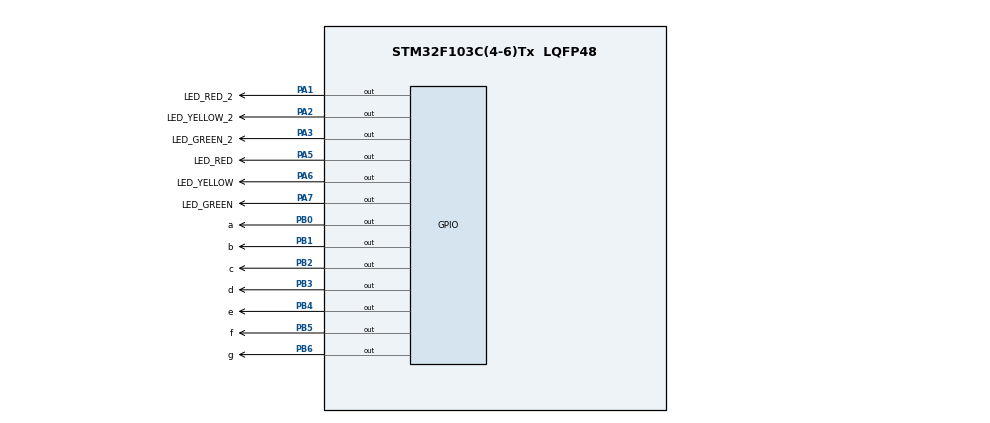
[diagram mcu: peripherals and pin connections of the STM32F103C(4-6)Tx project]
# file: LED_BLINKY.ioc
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Mcu.Family=STM32F1
Mcu.Name=STM32F103C(4-6)Tx
Mcu.Package=LQFP48
NVIC.PriorityGroup=NVIC_PRIORITYGROUP_4
PA1.GPIO_Label=LED_RED_2
PA1.Signal=GPIO_Output
PA2.GPIO_Label=LED_YELLOW_2
PA2.Signal=GPIO_Output
PA3.GPIO_Label=LED_GREEN_2
PA3.Signal=GPIO_Output
PA5.GPIO_Label=LED_RED
PA5.Signal=GPIO_Output
PA6.GPIO_Label=LED_YELLOW
PA6.Signal=GPIO_Output
PA7.GPIO_Label=LED_GREEN
PA7.Signal=GPIO_Output
PB0.GPIO_Label=a
PB0.Signal=GPIO_Output
PB1.GPIO_Label=b
PB1.Signal=GPIO_Output
PB2.GPIO_Label=c
PB2.Signal=GPIO_Output
PB3.GPIO_Label=d
PB3.Signal=GPIO_Output
PB4.GPIO_Label=e
PB4.Signal=GPIO_Output
PB5.GPIO_Label=f
PB5.Signal=GPIO_Output
PB6.GPIO_Label=g
PB6.Signal=GPIO_Output
ProjectManager.HeapSize=0x200
ProjectManager.StackSize=0x400
ProjectManager.TargetToolchain=STM32CubeIDE
RCC.APB1Freq_Value=8000000
RCC.APB2Freq_Value=8000000
VP_SYS_VS_ND.Mode=No_Debug
board=custom

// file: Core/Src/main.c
/* USER CODE BEGIN Header */
/**
  ******************************************************************************
  * @file           : main.c
  * @brief          : Main program body
  ******************************************************************************
  * @attention
  *
  * <h2><center>&copy; Copyright (c) 2023 STMicroelectronics.
  * All rights reserved.</center></h2>
  *
  * This software component is licensed by ST under BSD 3-Clause license,
  * the "License"; You may not use this file except in compliance with the
  * License. You may obtain a copy of the License at:
  *                        opensource.org/licenses/BSD-3-Clause
  *
  ******************************************************************************
  */
/* USER CODE END Header */
#include "main.h"

void SystemClock_Config(void);
static void MX_GPIO_Init(void);

int main(void)
{

  /* MCU Configuration--------------------------------------------------------*/

  /* Reset of all peripherals, Initializes the Flash interface and the Systick. */
  HAL_Init();

  /* Configure the system clock */
  SystemClock_Config();

  /* Initialize all configured peripherals */
  MX_GPIO_Init();

  /* Infinite loop */
  /* USER CODE BEGIN WHILE */

  void display7SEG(int num) {
      HAL_GPIO_WritePin(a_GPIO_Port, a_Pin, GPIO_PIN_SET);
      HAL_GPIO_WritePin(b_GPIO_Port, b_Pin, GPIO_PIN_SET);
      HAL_GPIO_WritePin(c_GPIO_Port, c_Pin, GPIO_PIN_SET);
      HAL_GPIO_WritePin(d_GPIO_Port, d_Pin, GPIO_PIN_SET);
      HAL_GPIO_WritePin(e_GPIO_Port, e_Pin, GPIO_PIN_SET);
      HAL_GPIO_WritePin(f_GPIO_Port, f_Pin, GPIO_PIN_SET);
      HAL_GPIO_WritePin(g_GPIO_Port, g_Pin, GPIO_PIN_SET);

      switch(num) {
          case 0:
              HAL_GPIO_WritePin(a_GPIO_Port, a_Pin, GPIO_PIN_RESET);
              HAL_GPIO_WritePin(b_GPIO_Port, b_Pin, GPIO_PIN_RESET);
              HAL_GPIO_WritePin(c_GPIO_Port, c_Pin, GPIO_PIN_RESET);
              HAL_GPIO_WritePin(d_GPIO_Port, d_Pin, GPIO_PIN_RESET);
              HAL_GPIO_WritePin(e_GPIO_Port, e_Pin, GPIO_PIN_RESET);
              HAL_GPIO_WritePin(f_GPIO_Port, f_Pin, GPIO_PIN_RESET);
              HAL_GPIO_WritePin(g_GPIO_Port, g_Pin, GPIO_PIN_SET);
              break;
          case 1:
              HAL_GPIO_WritePin(a_GPIO_Port, a_Pin, GPIO_PIN_SET);
              HAL_GPIO_WritePin(b_GPIO_Port, b_Pin, GPIO_PIN_RESET);
              HAL_GPIO_WritePin(c_GPIO_Port, c_Pin, GPIO_PIN_RESET);
              HAL_GPIO_WritePin(d_GPIO_Port, d_Pin, GPIO_PIN_SET);
              HAL_GPIO_WritePin(e_GPIO_Port, e_Pin, GPIO_PIN_SET);
              HAL_GPIO_WritePin(f_GPIO_Port, f_Pin, GPIO_PIN_SET);
              HAL_GPIO_WritePin(g_GPIO_Port, g_Pin, GPIO_PIN_SET);
              // (Add the rest of the pins needed to display '1')
              break;
          case 2:
              HAL_GPIO_WritePin(a_GPIO_Port, a_Pin, GPIO_PIN_RESET);
              HAL_GPIO_WritePin(b_GPIO_Port, b_Pin, GPIO_PIN_RESET);
              HAL_GPIO_WritePin(c_GPIO_Port, c_Pin, GPIO_PIN_SET);
              HAL_GPIO_WritePin(d_GPIO_Port, d_Pin, GPIO_PIN_RESET);
              HAL_GPIO_WritePin(e_GPIO_Port, e_Pin, GPIO_PIN_RESET);
              HAL_GPIO_WritePin(f_GPIO_Port, f_Pin, GPIO_PIN_SET);
              HAL_GPIO_WritePin(g_GPIO_Port, g_Pin, GPIO_PIN_RESET);
              break;
          case 3:
              HAL_GPIO_WritePin(a_GPIO_Port, a_Pin, GPIO_PIN_RESET);
              HAL_GPIO_WritePin(b_GPIO_Port, b_Pin, GPIO_PIN_RESET);
              HAL_GPIO_WritePin(c_GPIO_Port, c_Pin, GPIO_PIN_RESET);
              HAL_GPIO_WritePin(d_GPIO_Port, d_Pin, GPIO_PIN_RESET);
              HAL_GPIO_WritePin(e_GPIO_Port, e_Pin, GPIO_PIN_SET);
              HAL_GPIO_WritePin(f_GPIO_Port, f_Pin, GPIO_PIN_SET);
              HAL_GPIO_WritePin(g_GPIO_Port, g_Pin, GPIO_PIN_RESET);
              break;
          case 4:
              HAL_GPIO_WritePin(a_GPIO_Port, a_Pin, GPIO_PIN_SET);
              HAL_GPIO_WritePin(b_GPIO_Port, b_Pin, GPIO_PIN_RESET);
              HAL_GPIO_WritePin(c_GPIO_Port, c_Pin, GPIO_PIN_RESET);
              HAL_GPIO_WritePin(d_GPIO_Port, d_Pin, GPIO_PIN_SET);
              HAL_GPIO_WritePin(e_GPIO_Port, e_Pin, GPIO_PIN_SET);
              HAL_GPIO_WritePin(f_GPIO_Port, f_Pin, GPIO_PIN_RESET);
              HAL_GPIO_WritePin(g_GPIO_Port, g_Pin, GPIO_PIN_RESET);
              break;
          case 5:
              HAL_GPIO_WritePin(a_GPIO_Port, a_Pin, GPIO_PIN_RESET);
              HAL_GPIO_WritePin(b_GPIO_Port, b_Pin, GPIO_PIN_SET);
              HAL_GPIO_WritePin(c_GPIO_Port, c_Pin, GPIO_PIN_RESET);
              HAL_GPIO_WritePin(d_GPIO_Port, d_Pin, GPIO_PIN_RESET);
              HAL_GPIO_WritePin(e_GPIO_Port, e_Pin, GPIO_PIN_SET);
              HAL_GPIO_WritePin(f_GPIO_Port, f_Pin, GPIO_PIN_RESET);
              HAL_GPIO_WritePin(g_GPIO_Port, g_Pin, GPIO_PIN_RESET);
              break;
          case 6:
              HAL_GPIO_WritePin(a_GPIO_Port, a_Pin, GPIO_PIN_RESET);
              HAL_GPIO_WritePin(b_GPIO_Port, b_Pin, GPIO_PIN_SET);
              HAL_GPIO_WritePin(c_GPIO_Port, c_Pin, GPIO_PIN_RESET);
              HAL_GPIO_WritePin(d_GPIO_Port, d_Pin, GPIO_PIN_RESET);
              HAL_GPIO_WritePin(e_GPIO_Port, e_Pin, GPIO_PIN_RESET);
              HAL_GPIO_WritePin(f_GPIO_Port, f_Pin, GPIO_PIN_RESET);
              HAL_GPIO_WritePin(g_GPIO_Port, g_Pin, GPIO_PIN_RESET);
              break;
          case 7:
              HAL_GPIO_WritePin(a_GPIO_Port, a_Pin, GPIO_PIN_RESET);
              HAL_GPIO_WritePin(b_GPIO_Port, b_Pin, GPIO_PIN_RESET);
              HAL_GPIO_WritePin(c_GPIO_Port, c_Pin, GPIO_PIN_RESET);
              HAL_GPIO_WritePin(d_GPIO_Port, d_Pin, GPIO_PIN_SET);
              HAL_GPIO_WritePin(e_GPIO_Port, e_Pin, GPIO_PIN_SET);
              HAL_GPIO_WritePin(f_GPIO_Port, f_Pin, GPIO_PIN_SET);
              HAL_GPIO_WritePin(g_GPIO_Port, g_Pin, GPIO_PIN_SET);
              break;
          case 8:
              HAL_GPIO_WritePin(a_GPIO_Port, a_Pin, GPIO_PIN_RESET);
              HAL_GPIO_WritePin(b_GPIO_Port, b_Pin, GPIO_PIN_RESET);
              HAL_GPIO_WritePin(c_GPIO_Port, c_Pin, GPIO_PIN_RESET);
              HAL_GPIO_WritePin(d_GPIO_Port, d_Pin, GPIO_PIN_RESET);
              HAL_GPIO_WritePin(e_GPIO_Port, e_Pin, GPIO_PIN_RESET);
              HAL_GPIO_WritePin(f_GPIO_Port, f_Pin, GPIO_PIN_RESET);
              HAL_GPIO_WritePin(g_GPIO_Port, g_Pin, GPIO_PIN_RESET);
              break;
          case 9:
              HAL_GPIO_WritePin(a_GPIO_Port, a_Pin, GPIO_PIN_RESET);
              HAL_GPIO_WritePin(b_GPIO_Port, b_Pin, GPIO_PIN_RESET);
              HAL_GPIO_WritePin(c_GPIO_Port, c_Pin, GPIO_PIN_RESET);
              HAL_GPIO_WritePin(d_GPIO_Port, d_Pin, GPIO_PIN_RESET);
              HAL_GPIO_WritePin(e_GPIO_Port, e_Pin, GPIO_PIN_SET);
              HAL_GPIO_WritePin(f_GPIO_Port, f_Pin, GPIO_PIN_RESET);
              HAL_GPIO_WritePin(g_GPIO_Port, g_Pin, GPIO_PIN_RESET);
              break;
          default:
              // Handle invalid input by possibly clearing all segments or displaying a predefined error state
              break;
      }
      return;
  }
void setTrafficLights(GPIO_PinState red, GPIO_PinState yellow, GPIO_PinState green,
					GPIO_PinState red_2, GPIO_PinState yellow_2, GPIO_PinState green_2) {
  HAL_GPIO_WritePin(LED_RED_GPIO_Port, LED_RED_Pin, red);
  HAL_GPIO_WritePin(LED_YELLOW_GPIO_Port, LED_YELLOW_Pin, yellow);
  HAL_GPIO_WritePin(LED_GREEN_GPIO_Port, LED_GREEN_Pin, green);
  HAL_GPIO_WritePin(LED_RED_2_GPIO_Port, LED_RED_2_Pin, red_2);
  HAL_GPIO_WritePin(LED_YELLOW_2_GPIO_Port, LED_YELLOW_2_Pin, yellow_2);
  HAL_GPIO_WritePin(LED_GREEN_2_GPIO_Port, LED_GREEN_2_Pin, green_2);
}
int counter =  9 ;
while (1)
  {
	/* USER CODE BEGIN WHILE */
	 // this comment for North South direction
	  if (counter>6){
			display7SEG(counter-4);
		    setTrafficLights(GPIO_PIN_RESET, GPIO_PIN_SET, GPIO_PIN_SET, GPIO_PIN_SET, GPIO_PIN_SET, GPIO_PIN_RESET);
	  }
	  else if (counter<=6 && counter>4){
			display7SEG(counter-4);
			setTrafficLights(GPIO_PIN_RESET, GPIO_PIN_SET, GPIO_PIN_SET, GPIO_PIN_SET, GPIO_PIN_RESET, GPIO_PIN_SET);
	  }
	  else if (counter<=4 && counter>1){
	    	display7SEG(counter-1);
		setTrafficLights(GPIO_PIN_SET, GPIO_PIN_SET, GPIO_PIN_RESET,
		                 GPIO_PIN_RESET, GPIO_PIN_SET, GPIO_PIN_SET);
	  }
	  else if (counter<2){
			display7SEG(counter+1);
			setTrafficLights(GPIO_PIN_SET, GPIO_PIN_RESET, GPIO_PIN_SET,
			                 GPIO_PIN_RESET, GPIO_PIN_SET, GPIO_PIN_SET);
	  }
	  counter--;
	  if (counter<-1){
		  counter = 9;
		  continue;
	  }
	  HAL_Delay(1000);

    /* USER CODE END WHILE */

  }
}

void SystemClock_Config(void)
{
  RCC_OscInitTypeDef RCC_OscInitStruct = {0};
  RCC_ClkInitTypeDef RCC_ClkInitStruct = {0};

  /** Initializes the RCC Oscillators according to the specified parameters
  * in the RCC_OscInitTypeDef structure.
  */
  RCC_OscInitStruct.OscillatorType = RCC_OSCILLATORTYPE_HSI;
  RCC_OscInitStruct.HSIState = RCC_HSI_ON;
  RCC_OscInitStruct.HSICalibrationValue = RCC_HSICALIBRATION_DEFAULT;
  RCC_OscInitStruct.PLL.PLLState = RCC_PLL_NONE;
  if (HAL_RCC_OscConfig(&RCC_OscInitStruct) != HAL_OK)
  {
    Error_Handler();
  }
  /** Initializes the CPU, AHB and APB buses clocks
  */
  RCC_ClkInitStruct.ClockType = RCC_CLOCKTYPE_HCLK|RCC_CLOCKTYPE_SYSCLK
                              |RCC_CLOCKTYPE_PCLK1|RCC_CLOCKTYPE_PCLK2;
  RCC_ClkInitStruct.SYSCLKSource = RCC_SYSCLKSOURCE_HSI;
  RCC_ClkInitStruct.AHBCLKDivider = RCC_SYSCLK_DIV1;
  RCC_ClkInitStruct.APB1CLKDivider = RCC_HCLK_DIV1;
  RCC_ClkInitStruct.APB2CLKDivider = RCC_HCLK_DIV1;

  if (HAL_RCC_ClockConfig(&RCC_ClkInitStruct, FLASH_LATENCY_0) != HAL_OK)
  {
    Error_Handler();
  }
}

static void MX_GPIO_Init(void)
{
  GPIO_InitTypeDef GPIO_InitStruct = {0};

  /* GPIO Ports Clock Enable */
  __HAL_RCC_GPIOA_CLK_ENABLE();
  __HAL_RCC_GPIOB_CLK_ENABLE();

  /*Configure GPIO pin Output Level */
  HAL_GPIO_WritePin(GPIOA, LED_RED_2_Pin|LED_YELLOW_2_Pin|LED_GREEN_2_Pin|LED_RED_Pin
                          |LED_YELLOW_Pin|LED_GREEN_Pin, GPIO_PIN_RESET);

  /*Configure GPIO pin Output Level */
  HAL_GPIO_WritePin(GPIOB, a_Pin|b_Pin|c_Pin|d_Pin
                          |e_Pin|f_Pin|g_Pin, GPIO_PIN_RESET);

  /*Configure GPIO pins : LED_RED_2_Pin LED_YELLOW_2_Pin LED_GREEN_2_Pin LED_RED_Pin
                           LED_YELLOW_Pin LED_GREEN_Pin */
  GPIO_InitStruct.Pin = LED_RED_2_Pin|LED_YELLOW_2_Pin|LED_GREEN_2_Pin|LED_RED_Pin
                          |LED_YELLOW_Pin|LED_GREEN_Pin;
  GPIO_InitStruct.Mode = GPIO_MODE_OUTPUT_PP;
  GPIO_InitStruct.Pull = GPIO_NOPULL;
  GPIO_InitStruct.Speed = GPIO_SPEED_FREQ_LOW;
  HAL_GPIO_Init(GPIOA, &GPIO_InitStruct);

  /*Configure GPIO pins : a_Pin b_Pin c_Pin d_Pin
                           e_Pin f_Pin g_Pin */
  GPIO_InitStruct.Pin = a_Pin|b_Pin|c_Pin|d_Pin
                          |e_Pin|f_Pin|g_Pin;
  GPIO_InitStruct.Mode = GPIO_MODE_OUTPUT_PP;
  GPIO_InitStruct.Pull = GPIO_NOPULL;
  GPIO_InitStruct.Speed = GPIO_SPEED_FREQ_LOW;
  HAL_GPIO_Init(GPIOB, &GPIO_InitStruct);

}

void Error_Handler(void)
{
  __disable_irq();
  while (1)
  {
  }
}

/************************ (C) COPYRIGHT STMicroelectronics *****END OF FILE****/
